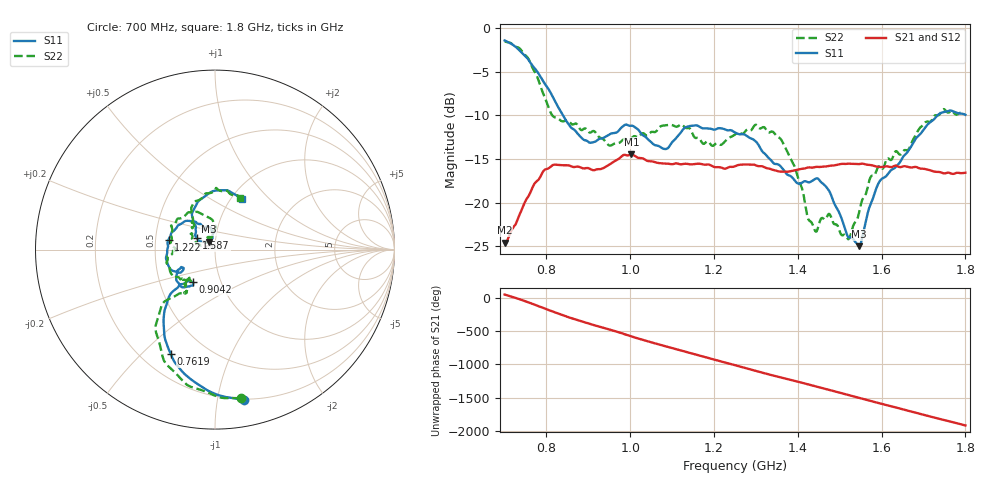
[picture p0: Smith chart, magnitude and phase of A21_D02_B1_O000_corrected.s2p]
! Created with skrf 1.9.0 (http://scikit-rf.org).
# Hz S RI R 50.0
!freq ReS11 ImS11 ReS21 ImS21 ReS12 ImS12 ReS22 ImS22
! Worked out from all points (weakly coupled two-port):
!   1601 points, 700 MHz to 1.8 GHz, reference 50 ohm
!   highest |S21| = -14.49 dB at 1.002 GHz (marker M1); lowest = -24.6 dB at 700.7 MHz (marker M2)
!   lowest |S11| = -25.0 dB at 1.546 GHz (marker M3), VSWR 1.12, Z = 46.4 + j4.09 ohm
!   |S11| at or under -10 dB: 839.4 MHz to 1.733 GHz (893.8 MHz wide, 69.5 % of centre)
!   |S22| runs from -24.2 to -1.5 dB; largest |S21 - S12| = 0.0035
!   S11 on the Smith chart (normalised r, x): 700 MHz: 0.20, -1.19; 761.9 MHz: 0.32, -0.62; 904.2 MHz: 0.73, -0.28; 1.222 GHz: 0.59, +0.07; 1.587 GHz: 0.81, +0.11; 1.8 GHz: 1.12, +0.70
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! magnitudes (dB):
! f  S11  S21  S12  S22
! 700 MHz  -1.4  -24.6  -24.4  -1.5
! 700.7 MHz  -1.4  -24.6  -24.3  -1.5
! 761.9 MHz  -4.0  -18.8  -18.7  -4.0
! 814.1 MHz  -7.8  -15.7  -15.8  -10.0
! 883.6 MHz  -12.6  -16.0  -15.9  -11.7
! 904.2 MHz  -13.1  -16.1  -16.1  -12.0
! 951.6 MHz  -12.2  -15.6  -15.6  -13.5
! 1.002 GHz  -11.2  -14.5  -14.6  -12.7
! 1.067 GHz  -13.5  -15.5  -15.4  -11.5
! 1.139 GHz  -11.3  -15.6  -15.5  -11.4
! 1.222 GHz  -11.5  -16.1  -16.1  -13.2
! 1.25 GHz  -12.0  -15.8  -15.8  -12.2
! 1.3 GHz  -13.0  -15.7  -15.7  -11.1
! 1.359 GHz  -15.8  -16.4  -16.4  -12.7
! 1.434 GHz  -17.5  -16.0  -16.0  -22.4
! 1.472 GHz  -18.5  -15.8  -15.8  -21.4
! 1.52 GHz  -23.9  -15.5  -15.6  -24.2
! 1.546 GHz  -25.0  -15.6  -15.6  -21.1
! 1.587 GHz  -18.4  -15.9  -15.9  -16.4
! 1.617 GHz  -16.6  -15.9  -15.9  -15.0
! 1.737 GHz  -9.9  -16.5  -16.5  -10.0
! 1.8 GHz  -9.9  -16.6  -16.6  -9.9
